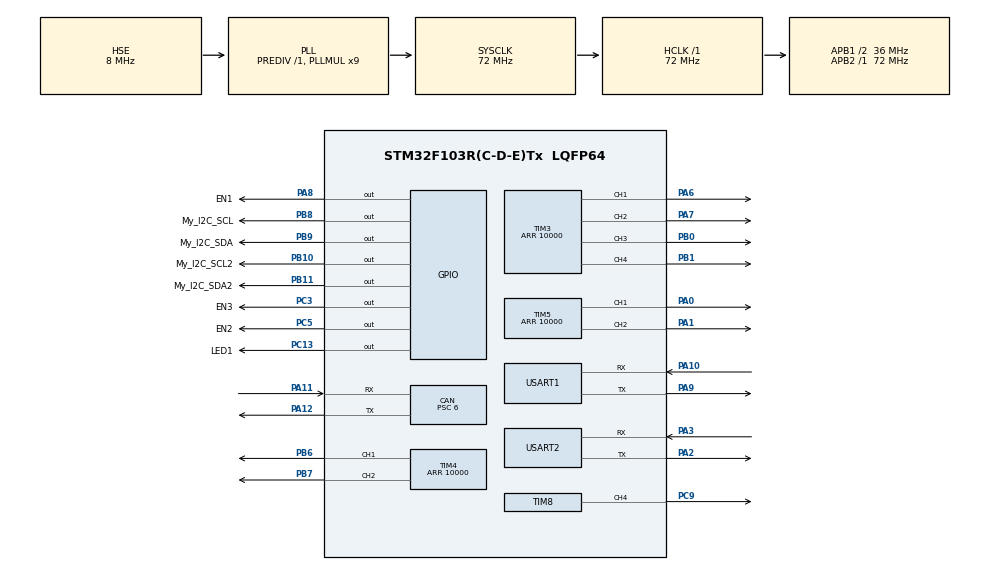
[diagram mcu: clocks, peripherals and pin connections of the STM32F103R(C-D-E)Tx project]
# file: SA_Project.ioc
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CAN.ABOM=ENABLE
CAN.BS1=CAN_BS1_4TQ
CAN.CalculateBaudRate=999999
CAN.CalculateTimeBit=1000
CAN.CalculateTimeQuantum=166.66666666666669
CAN.Prescaler=6
CAN.SJW=CAN_SJW_1TQ
Dma.Request0=USART2_RX
Dma.USART2_RX.0.Direction=DMA_PERIPH_TO_MEMORY
Dma.USART2_RX.0.Instance=DMA1_Channel6
Dma.USART2_RX.0.MemDataAlignment=DMA_MDATAALIGN_BYTE
Dma.USART2_RX.0.MemInc=DMA_MINC_ENABLE
Dma.USART2_RX.0.Mode=DMA_NORMAL
Dma.USART2_RX.0.PeriphDataAlignment=DMA_PDATAALIGN_BYTE
Dma.USART2_RX.0.PeriphInc=DMA_PINC_DISABLE
Dma.USART2_RX.0.Priority=DMA_PRIORITY_LOW
Mcu.Family=STM32F1
Mcu.Name=STM32F103R(C-D-E)Tx
Mcu.Package=LQFP64
NVIC.DMA1_Channel6_IRQn=true\:0\:0\:false\:false\:true\:false\:true\:true
NVIC.PriorityGroup=NVIC_PRIORITYGROUP_4
NVIC.TIM2_IRQn=true\:0\:0\:false\:false\:true\:true\:true\:true
NVIC.USART2_IRQn=true\:1\:0\:true\:false\:true\:true\:true\:true
PA0-WKUP.Signal=S_TIM5_CH1
PA1.Signal=S_TIM5_CH2
PA10.Mode=Asynchronous
PA10.Signal=USART1_RX
PA11.Mode=CAN_Activate
PA11.Signal=CAN_RX
PA12.Mode=CAN_Activate
PA12.Signal=CAN_TX
PA13.Mode=Serial_Wire
PA13.Signal=SYS_JTMS-SWDIO
PA14.Mode=Serial_Wire
PA14.Signal=SYS_JTCK-SWCLK
PA2.Mode=Asynchronous
PA2.Signal=USART2_TX
PA3.Mode=Asynchronous
PA3.Signal=USART2_RX
PA6.Signal=S_TIM3_CH1
PA7.Signal=S_TIM3_CH2
PA8.GPIO_Label=EN1
PA8.Signal=GPIO_Output
PA9.Mode=Asynchronous
PA9.Signal=USART1_TX
PB0.Signal=S_TIM3_CH3
PB1.Signal=S_TIM3_CH4
PB10.GPIO_Label=My_I2C_SCL2
PB10.PinState=GPIO_PIN_SET
PB10.Signal=GPIO_Output
PB11.GPIO_Label=My_I2C_SDA2
PB11.PinState=GPIO_PIN_SET
PB11.Signal=GPIO_Output
PB6.Signal=S_TIM4_CH1
PB7.Signal=S_TIM4_CH2
PB8.GPIO_Label=My_I2C_SCL
PB8.PinState=GPIO_PIN_SET
PB8.Signal=GPIO_Output
PB9.GPIO_Label=My_I2C_SDA
PB9.PinState=GPIO_PIN_SET
PB9.Signal=GPIO_Output
PC13-TAMPER-RTC.GPIO_Label=LED1
PC13-TAMPER-RTC.Signal=GPIO_Output
PC14-OSC32_IN.Mode=LSE-External-Oscillator
PC14-OSC32_IN.Signal=RCC_OSC32_IN
PC15-OSC32_OUT.Mode=LSE-External-Oscillator
PC15-OSC32_OUT.Signal=RCC_OSC32_OUT
PC3.GPIO_Label=EN3
PC3.Signal=GPIO_Output
PC5.GPIO_Label=EN2
PC5.Signal=GPIO_Output
PC9.Signal=S_TIM8_CH4
PD0-OSC_IN.Mode=HSE-External-Oscillator
PD0-OSC_IN.Signal=RCC_OSC_IN
PD1-OSC_OUT.Mode=HSE-External-Oscillator
PD1-OSC_OUT.Signal=RCC_OSC_OUT
ProjectManager.HeapSize=0x200
ProjectManager.StackSize=0x400
ProjectManager.TargetToolchain=MDK-ARM V5.32
RCC.ADCPresc=RCC_ADCPCLK2_DIV6
RCC.AHBFreq_Value=72000000
RCC.APB1CLKDivider=RCC_HCLK_DIV2
RCC.APB1Freq_Value=36000000
RCC.APB1TimFreq_Value=72000000
RCC.APB2Freq_Value=72000000
RCC.APB2TimFreq_Value=72000000
RCC.HCLKFreq_Value=72000000
RCC.PLLMUL=RCC_PLL_MUL9
RCC.PLLSourceVirtual=RCC_PLLSOURCE_HSE
RCC.SYSCLKFreq_VALUE=72000000
RCC.SYSCLKSource=RCC_SYSCLKSOURCE_PLLCLK
RCC.USBFreq_Value=72000000
SH.S_TIM3_CH1.0=TIM3_CH1,PWM Generation1 CH1
SH.S_TIM3_CH2.0=TIM3_CH2,PWM Generation2 CH2
SH.S_TIM3_CH3.0=TIM3_CH3,PWM Generation3 CH3
SH.S_TIM3_CH4.0=TIM3_CH4,PWM Generation4 CH4
SH.S_TIM4_CH1.0=TIM4_CH1,PWM Generation1 CH1
SH.S_TIM4_CH2.0=TIM4_CH2,PWM Generation2 CH2
SH.S_TIM5_CH1.0=TIM5_CH1,PWM Generation1 CH1
SH.S_TIM5_CH2.0=TIM5_CH2,PWM Generation2 CH2
SH.S_TIM8_CH4.0=TIM8_CH4,PWM Generation4 CH4
TIM2.AutoReloadPreload=TIM_AUTORELOAD_PRELOAD_ENABLE
TIM2.Period=50-1
TIM2.Prescaler=7200-1
TIM3.Channel-PWM\ Generation1\ CH1=TIM_CHANNEL_1
TIM3.Channel-PWM\ Generation2\ CH2=TIM_CHANNEL_2
TIM3.Channel-PWM\ Generation3\ CH3=TIM_CHANNEL_3
TIM3.Channel-PWM\ Generation4\ CH4=TIM_CHANNEL_4
TIM3.Period=10000
TIM4.Channel-PWM\ Generation1\ CH1=TIM_CHANNEL_1
TIM4.Channel-PWM\ Generation2\ CH2=TIM_CHANNEL_2
TIM4.Period=10000
TIM5.Channel-PWM\ Generation1\ CH1=TIM_CHANNEL_1
TIM5.Channel-PWM\ Generation2\ CH2=TIM_CHANNEL_2
TIM5.Period=10000
TIM8.Channel-PWM\ Generation4\ CH4=TIM_CHANNEL_4
TIM8.Period=10000
USART1.VirtualMode=VM_ASYNC
USART2.VirtualMode=VM_ASYNC
VP_TIM2_VS_ClockSourceINT.Mode=Internal
board=custom

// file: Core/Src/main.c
/* USER CODE BEGIN Header */
/**
  ******************************************************************************
  * @file           : main.c
  * @brief          : Main program body
  ******************************************************************************
  * @attention
  *
  * Copyright (c) 2024 STMicroelectronics.
  * All rights reserved.
  *
  * This software is licensed under terms that can be found in the LICENSE file
  * in the root directory of this software component.
  * If no LICENSE file comes with this software, it is provided AS-IS.
  *
  ******************************************************************************
  */
/* USER CODE END Header */
#include "main.h"
#include "can.h"
#include "dma.h"
#include "tim.h"
#include "usart.h"
#include "gpio.h"

/* USER CODE BEGIN Includes */

#include "headfile.h"    //头文

/* USER CODE END Includes */

/* USER CODE BEGIN PTD */
FOCmotor_Typedef FOCM1,FOCM2,FOCM3;
AnglePD_Typedef PDM1;
/* USER CODE END PTD */

/* USER CODE BEGIN PD */
uint8_t message1[]="****UART commucition using IDLE IT DMA****\n";
uint8_t message2[]="Please enter 8 characters: \n";

/* USER CODE END PD */

void SystemClock_Config(void);

/* USER CODE BEGIN 0 */
float a;
float b;
float set111;
/* USER CODE END 0 */

int main(void)
{

  /* MCU Configuration--------------------------------------------------------*/

  /* Reset of all peripherals, Initializes the Flash interface and the Systick. */
  HAL_Init();

  /* Configure the system clock */
  SystemClock_Config();

  /* USER CODE BEGIN SysInit */
  AnglePD_Init(&PDM1);
  /* USER CODE END SysInit */

  /* Initialize all configured peripherals */
  MX_GPIO_Init();
  MX_DMA_Init();
  MX_USART1_UART_Init();
  MX_TIM3_Init();
  MX_TIM4_Init();
  MX_TIM5_Init();
  MX_TIM8_Init();
  MX_TIM2_Init();
  MX_USART2_UART_Init();
  MX_CAN_Init();
  /* USER CODE BEGIN 2 */
    Init_Cyber(&Cyber, 4);
//    Set_Cyber_limitSp(&Cyber, 3);
//    Set_Cyber_limitTor(&Cyber, 3);
    Set_Cyber_Mode(&Cyber,0);
    Start_Cyber(&Cyber);
    HAL_TIM_Base_Start_IT(&htim2);//定时器5ms中断开启
  /* USER CODE END 2 */

  /* Infinite loop */
  /* USER CODE BEGIN WHILE */
  while (1)
  {
      Cyber_ControlMode(&Cyber,3,3,1,0.2,0.1);
      HAL_Delay(500);
      Cyber_ControlMode(&Cyber,3,3,3,0.2,0.1);
      HAL_Delay(500);
      Cyber_ControlMode(&Cyber,3,3,5,0.2,0.1);
      HAL_Delay(500);
      Cyber_ControlMode(&Cyber,3,3,2,0.2,0.1);
      HAL_Delay(500);
      Cyber_ControlMode(&Cyber,3,3,0,0.2,0.1);
    /* USER CODE END WHILE */

  }
}

void SystemClock_Config(void)
{
  RCC_OscInitTypeDef RCC_OscInitStruct = {0};
  RCC_ClkInitTypeDef RCC_ClkInitStruct = {0};

  /** Initializes the RCC Oscillators according to the specified parameters
  * in the RCC_OscInitTypeDef structure.
  */
  RCC_OscInitStruct.OscillatorType = RCC_OSCILLATORTYPE_HSE;
  RCC_OscInitStruct.HSEState = RCC_HSE_ON;
  RCC_OscInitStruct.HSEPredivValue = RCC_HSE_PREDIV_DIV1;
  RCC_OscInitStruct.HSIState = RCC_HSI_ON;
  RCC_OscInitStruct.PLL.PLLState = RCC_PLL_ON;
  RCC_OscInitStruct.PLL.PLLSource = RCC_PLLSOURCE_HSE;
  RCC_OscInitStruct.PLL.PLLMUL = RCC_PLL_MUL9;
  if (HAL_RCC_OscConfig(&RCC_OscInitStruct) != HAL_OK)
  {
    Error_Handler();
  }

  /** Initializes the CPU, AHB and APB buses clocks
  */
  RCC_ClkInitStruct.ClockType = RCC_CLOCKTYPE_HCLK|RCC_CLOCKTYPE_SYSCLK
                              |RCC_CLOCKTYPE_PCLK1|RCC_CLOCKTYPE_PCLK2;
  RCC_ClkInitStruct.SYSCLKSource = RCC_SYSCLKSOURCE_PLLCLK;
  RCC_ClkInitStruct.AHBCLKDivider = RCC_SYSCLK_DIV1;
  RCC_ClkInitStruct.APB1CLKDivider = RCC_HCLK_DIV2;
  RCC_ClkInitStruct.APB2CLKDivider = RCC_HCLK_DIV1;

  if (HAL_RCC_ClockConfig(&RCC_ClkInitStruct, FLASH_LATENCY_2) != HAL_OK)
  {
    Error_Handler();
  }
}

/* USER CODE BEGIN 4 */
void HAL_TIM_PeriodElapsedCallback(TIM_HandleTypeDef *htim){
    if(htim == &htim2)  //判断中断是否来自于定时器2
   {

   }
}

//单片机测试代码
//    HAL_GPIO_WritePin((GPIO_TypeDef *)LED1_GPIO_Port, (uint16_t)LED1_Pin, (GPIO_PinState)0);
//    HAL_Delay(200);
//    HAL_GPIO_WritePin((GPIO_TypeDef *)LED1_GPIO_Port, (uint16_t)LED1_Pin, (GPIO_PinState)1);
//    HAL_Delay(200);
//    printf("samples: %d \n",a );
//    a++;

/* USER CODE END 4 */

void Error_Handler(void)
{
  __disable_irq();
  while (1)
  {
  }
}
